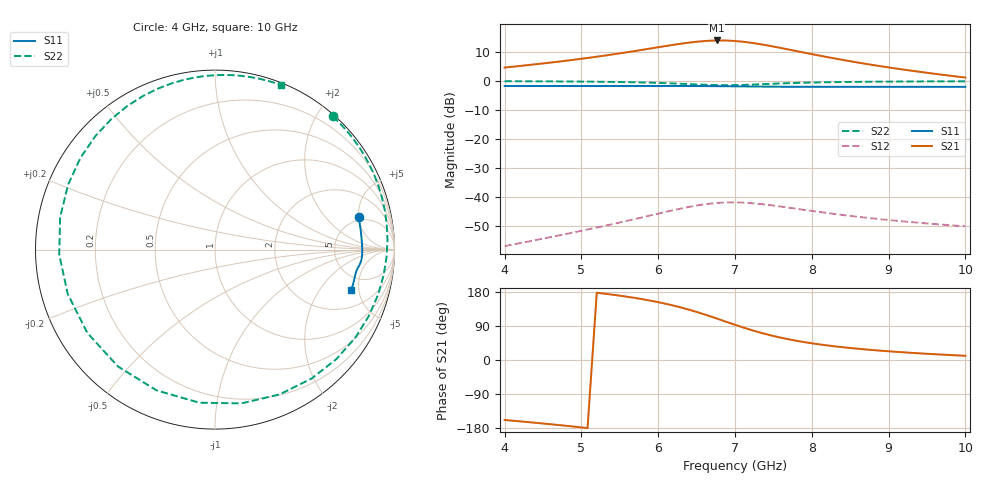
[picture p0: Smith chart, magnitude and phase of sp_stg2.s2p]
! Touchstone Ver. 1.0
! Number of ports is 2
# Hz	S	RI	R	100.000000
! SCATTERING PARAMETERS  :
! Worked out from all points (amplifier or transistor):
!   51 points, 4 GHz to 10 GHz, reference 100 ohm
!   highest |S21| = 14.0 dB at 6.76 GHz (marker M1)
!   |S21| within 3 dB of that: 5.848 GHz to 7.674 GHz (1.826 GHz wide, 27 % of centre)
!   unconditionally stable (mu >= 1): start of sweep to end of sweep
!   at 4.96 GHz: K = 1.13, MAG = 27.6 dB, |S12| = -52.0 dB
!   at 7 GHz: K = 1.06, MAG = 26.4 dB, |S12| = -41.9 dB
!   at 10 GHz: K = 1.01, MAG = 25.2 dB, |S12| = -50.2 dB
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4e9  0.7999 0.1789  -1.584 -0.6334  -0.000994 0.000987  0.6565 0.7417
4.6e9  0.8107 0.1147  -2.048 -0.378  -0.00121 0.00161  0.8295 0.5294
5.08e9  0.8159 0.0695  -2.5 -0.016  -0.00133 0.00237  0.9297 0.2922
5.56e9  0.8191 0.0275  -3.019 0.6422  -0.00123 0.00354  0.9561 -0.04
5.8e9  0.82 0.00707  -3.263 1.171  -0.000967 0.00433  0.9083 -0.2523
6.04e9  0.8202 -0.0134  -3.414 1.898  -0.0004 0.00524  0.7824 -0.4898
6.28e9  0.8192 -0.0341  -3.328 2.843  0.000647 0.00616  0.5371 -0.7191
6.4e9  0.8179 -0.0445  -3.13 3.372  0.0014 0.00652  0.3597 -0.8068
6.52e9  0.816 -0.0547  -2.793 3.898  0.0023 0.00674  0.148 -0.8568
6.64e9  0.8134 -0.0647  -2.307 4.369  0.0033 0.00675  -0.087 -0.8531
6.76e9  0.8102 -0.074  -1.686 4.723  0.00434 0.00649  -0.3252 -0.7846
6.88e9  0.8064 -0.0826  -0.978 4.91  0.0053 0.00596  -0.5411 -0.6508
7e9  0.8026 -0.0902  -0.2532 4.905  0.00608 0.00521  -0.7108 -0.4646
7.12e9  0.7988 -0.097  0.417 4.724  0.00663 0.00431  -0.8202 -0.2484
7.24e9  0.7954 -0.1031  0.9809 4.409  0.00692 0.00338  -0.868 -0.027
7.36e9  0.7924 -0.1087  1.416 4.015  0.00699 0.0025  -0.8629 0.1801
7.48e9  0.7899 -0.114  1.725 3.591  0.00689 0.00171  -0.8187 0.3612
7.72e9  0.786 -0.1245  2.041 2.784  0.00641 0.000478  -0.6658 0.6332
8.08e9  0.7816 -0.1405  2.072 1.849  0.00547 -0.000611  -0.401 0.8558
8.56e9  0.7766 -0.1625  1.834 1.079  0.0044 -0.00125  -0.1077 0.9596
9.04e9  0.7712 -0.1845  1.558 0.6425  0.00363 -0.00148  0.1032 0.9715
1e10  0.7586 -0.2273  1.125 0.2212  0.00267 -0.00156  0.3671 0.9172
